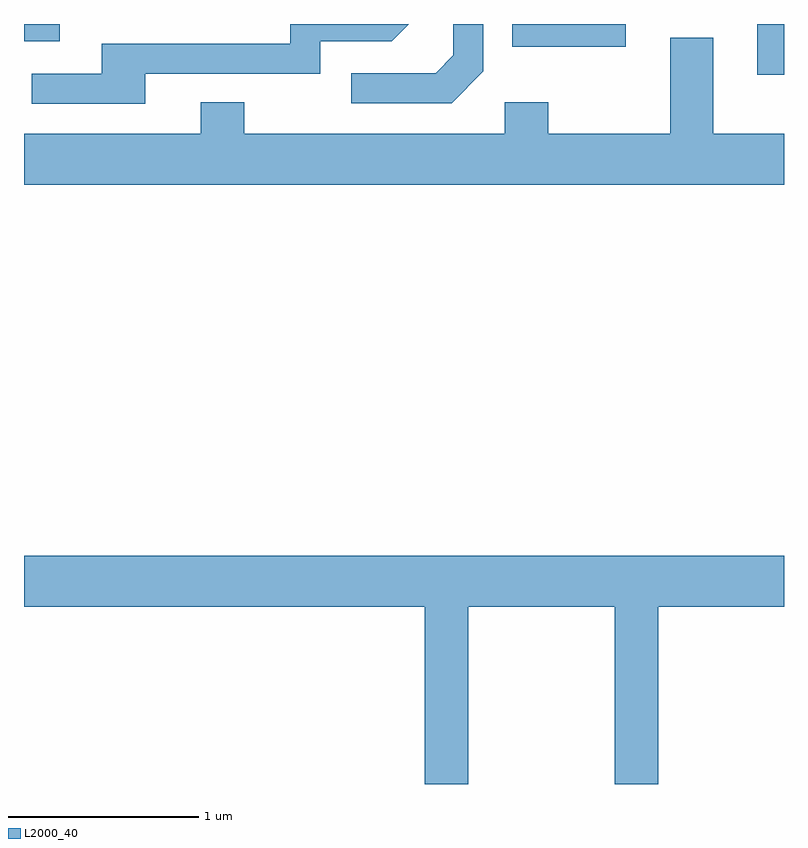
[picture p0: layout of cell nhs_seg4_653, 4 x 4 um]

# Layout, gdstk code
import gdstk
lib = gdstk.Library(unit=1e-6, precision=1e-09)
def R(c, l, rs):  # rectangles x0, y0, x1, y1
    for r in rs: c.add(gdstk.rectangle(r[:2], r[2:], *l))
def P(c, l, *ps):  # polygons
    for p in ps: c.add(gdstk.Polygon(p, *l))
L2000_40 = (2000, 40)

nhs_seg4_653 = lib.new_cell('nhs_seg4_653')
R(nhs_seg4_653, L2000_40, [(207.471,1339.716,207.611,1339.982), (206.181,1339.861,206.779,1339.982), (203.611,1339.891,203.799,1339.982)])
P(nhs_seg4_653, L2000_40, [(204.249,1339.721),(205.169,1339.721),(205.169,1339.891),(205.547,1339.891),(205.637,1339.982),(205.011,1339.982),(205.011,1339.879),(204.021,1339.879),(204.021,1339.719),(203.653,1339.719),(203.653,1339.561),(204.249,1339.561)],
  [(206.029,1339.734),(206.029,1339.982),(205.871,1339.982),(205.871,1339.817),(205.779,1339.724),(205.333,1339.724),(205.333,1339.566),(205.862,1339.566)],
  [(207.611,1339.404),(207.239,1339.404),(207.239,1339.909),(207.011,1339.909),(207.011,1339.404),(206.369,1339.404),(206.369,1339.569),(206.141,1339.569),(206.141,1339.404),(204.769,1339.404),(204.769,1339.569),(204.541,1339.569),(204.541,1339.404),(203.611,1339.404),(203.611,1339.136),(207.611,1339.136)],
  [(205.949,1336.916),(206.721,1336.916),(206.721,1335.982),(206.949,1335.982),(206.949,1336.916),(207.611,1336.916),(207.611,1337.184),(203.611,1337.184),(203.611,1336.916),(205.721,1336.916),(205.721,1335.982),(205.949,1335.982)])

lib.write_gds('nhs_seg4_653.gds')
